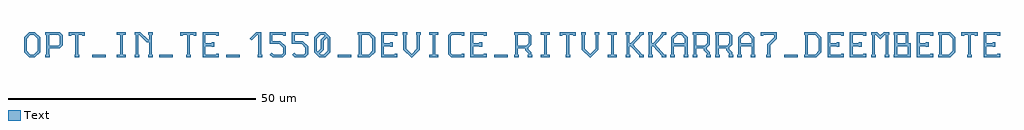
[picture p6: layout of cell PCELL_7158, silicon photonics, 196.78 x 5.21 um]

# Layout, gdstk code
import gdstk
lib = gdstk.Library(unit=1e-6, precision=1e-09)
def R(c, l, rs):  # rectangles x0, y0, x1, y1
    for r in rs: c.add(gdstk.rectangle(r[:2], r[2:], *l))
def A(c, l, x, y, w, h, nx, ny, dx, dy):  # array of equal rectangles
    R(c, l, [(x+i*dx, y+j*dy, x+i*dx+w, y+j*dy+h) for i in range(nx) for j in range(ny)])
def P(c, l, *ps):  # polygons
    for p in ps: c.add(gdstk.Polygon(p, *l))
Text = (10, 0)

pcell_7158 = lib.new_cell('PCELL_7158')
A(pcell_7158, Text, -85, -5.275, 2.727, 0.55, 3, 1, 13.5, 0)
A(pcell_7158, Text, 22.545, -5.275, 0.91, 0.55, 6, 1, 4.5, 0)
A(pcell_7158, Text, 25.273, -5.275, 0.909, 0.55, 6, 1, 4.5, 0)
A(pcell_7158, Text, 69.543, -3.182, 0.55, 0.909, 3, 1, 13.5, 0)
A(pcell_7158, Text, 68, -3.002, 1.818, 0.55, 3, 1, 13.5, 0)
R(pcell_7158, Text, [(-94.455,-5.275,-93.545,-4.725), (-88.591,-5.275,-87.682,-4.725), (-80.045,-5.275,-78.227,-4.725), (-76.455,-5.275,-75.545,-4.725), (-73.727,-5.275,-72.818,-4.725), (-66.091,-5.275,-65.182,-4.725), (-51.682,-5.275,-50.773,-4.725), (-35.5,-5.275,-32.773,-4.725), (-17.045,-5.275,-15.227,-4.725), (-4,-5.275,-1.273,-4.725), (0.045,-5.275,0.955,-4.725), (2.773,-5.275,3.682,-4.725), (5.455,-5.275,7.273,-4.725), (10.409,-5.275,11.318,-4.725), (18.955,-5.275,20.773,-4.725), (50.909,-5.275,51.818,-4.725), (54.5,-5.275,57.227,-4.725), (72.045,-5.275,72.955,-4.725), (74.773,-5.275,75.682,-4.725), (91.409,-5.275,92.318,-4.725), (-94.275,-5,-93.725,-0.455), (-88.411,-5,-87.861,-0.455), (-79.411,-5,-78.861,-0.455), (-76.275,-5,-75.725,-0.455), (-73.548,-5,-72.998,-0.455), (-65.911,-5,-65.361,-0.455), (-31.275,-5,-30.725,-0.455), (-16.411,-5,-15.861,-0.455), (0.225,-5,0.775,-0.455), (6.089,-5,6.639,-0.455), (10.589,-5,11.139,-0.455), (19.589,-5,20.139,-0.455), (22.725,-5,23.275,-0.455), (27.225,-5,27.775,-0.455), (36.225,-5,36.775,-0.455), (40.725,-5,41.275,-0.455), (58.725,-5,59.275,-0.455), (72.225,-5,72.775,-0.455), (74.952,-5,75.502,-0.455), (76.725,-5,77.275,-0.455), (85.725,-5,86.275,-0.455), (91.589,-5,92.139,-0.455), (-60.957,-3.182,-60.407,-2.273), (-24.957,-3.182,-24.407,-2.273), (-6.957,-3.182,-6.407,-2.273), (65.043,-3.182,65.593,-2.273), (-62.5,-3.002,-60.682,-2.452), (-26.5,-3.002,-24.682,-2.452), (-8.5,-3.002,-6.682,-2.452), (32,-3.002,34.727,-2.452), (45.5,-3.002,48.227,-2.452), (63.5,-3.002,65.318,-2.452), (77,-3.002,79.727,-2.452), (-80.045,-0.73,-78.227,-0.18), (-73.727,-0.73,-72.818,-0.18), (-22.455,-0.73,-21.545,-0.18), (-19.727,-0.73,-18.818,-0.18), (-17.045,-0.73,-15.227,-0.18), (5.455,-0.73,7.273,-0.18), (13.545,-0.73,14.455,-0.18), (16.273,-0.73,17.182,-0.18), (18.955,-0.73,20.773,-0.18), (22.545,-0.73,23.455,-0.18), (25.273,-0.73,26.182,-0.18), (27.045,-0.73,27.955,-0.18), (29.773,-0.73,30.682,-0.18)])
P(pcell_7158, Text, [(-98.775,-4.091),(-98.775,-1.25),(-97.705,-0.18),(-96.568,-0.18),(-95.498,-1.25),(-95.498,-3.182),(-96.048,-3.182),(-96.048,-1.478),(-96.796,-0.73),(-97.477,-0.73),(-98.225,-1.478),(-98.225,-4.091)],
  [(-95.498,-2.727),(-95.498,-4.205),(-96.568,-5.275),(-97.705,-5.275),(-98.775,-4.205),(-98.775,-1.364),(-98.225,-1.364),(-98.225,-3.977),(-97.477,-4.725),(-96.796,-4.725),(-96.048,-3.977),(-96.048,-2.727)],
  [(-94.455,-0.18),(-91.613,-0.18),(-90.998,-0.795),(-90.998,-2.841),(-91.613,-3.457),(-94,-3.457),(-94,-2.907),(-91.841,-2.907),(-91.548,-2.613),(-91.548,-1.023),(-91.841,-0.73),(-94.455,-0.73)],
  [(-89.775,-0.909),(-89.775,-0.18),(-86.498,-0.18),(-86.498,-0.909),(-87.048,-0.909),(-87.048,-0.73),(-89.225,-0.73),(-89.225,-0.909)],
  [(-76.455,-0.18),(-75.295,-0.18),(-73.75,-1.725),(-73.273,-1.725),(-73.273,-2.275),(-73.978,-2.275),(-75.523,-0.73),(-76.455,-0.73)],
  [(-67.275,-0.909),(-67.275,-0.18),(-63.998,-0.18),(-63.998,-0.909),(-64.548,-0.909),(-64.548,-0.73),(-66.725,-0.73),(-66.725,-0.909)],
  [(-59.498,-4.545),(-59.498,-5.275),(-62.775,-5.275),(-62.775,-0.18),(-59.498,-0.18),(-59.498,-0.909),(-60.048,-0.909),(-60.048,-0.73),(-62.225,-0.73),(-62.225,-4.725),(-60.048,-4.725),(-60.048,-4.545)],
  [(-53.24,-1.487),(-51.932,-0.18),(-50.952,-0.18),(-50.952,-5),(-51.502,-5),(-51.502,-0.73),(-51.704,-0.73),(-52.851,-1.876)],
  [(-46.548,-0.909),(-46.548,-0.73),(-48.725,-0.73),(-48.725,-1.998),(-47.068,-1.998),(-45.998,-3.068),(-45.998,-4.659),(-46.613,-5.275),(-48.659,-5.275),(-49.194,-4.74),(-48.806,-4.351),(-48.432,-4.725),(-46.841,-4.725),(-46.548,-4.432),(-46.548,-3.296),(-47.296,-2.548),(-49.275,-2.548),(-49.275,-0.18),(-45.998,-0.18),(-45.998,-0.909)],
  [(-42.048,-0.909),(-42.048,-0.73),(-44.225,-0.73),(-44.225,-1.998),(-42.568,-1.998),(-41.498,-3.068),(-41.498,-4.659),(-42.113,-5.275),(-44.159,-5.275),(-44.694,-4.74),(-44.306,-4.351),(-43.932,-4.725),(-42.341,-4.725),(-42.048,-4.432),(-42.048,-3.296),(-42.796,-2.548),(-44.775,-2.548),(-44.775,-0.18),(-41.498,-0.18),(-41.498,-0.909)],
  [(-38.636,-5.275),(-39.205,-5.275),(-40.275,-4.205),(-40.275,-1.25),(-39.205,-0.18),(-38.068,-0.18),(-36.998,-1.25),(-36.998,-3.182),(-37.548,-3.182),(-37.548,-1.478),(-38.296,-0.73),(-38.977,-0.73),(-39.725,-1.478),(-39.725,-3.977),(-38.977,-4.725),(-38.636,-4.725)],
  [(-36.998,-2.727),(-36.998,-4.205),(-38.068,-5.275),(-39.205,-5.275),(-40.275,-4.205),(-40.275,-2.727),(-39.725,-2.727),(-39.725,-3.977),(-38.977,-4.725),(-38.296,-4.725),(-37.548,-3.977),(-37.548,-2.727)],
  [(-39.74,-4.351),(-38.911,-3.522),(-38.911,-1.704),(-37.922,-0.715),(-37.533,-1.104),(-38.361,-1.932),(-38.361,-3.75),(-39.351,-4.74)],
  [(-31.455,-0.18),(-29.068,-0.18),(-27.998,-1.25),(-27.998,-4.205),(-29.068,-5.275),(-31.455,-5.275),(-31.455,-4.725),(-29.296,-4.725),(-28.548,-3.977),(-28.548,-1.478),(-29.296,-0.73),(-31.455,-0.73)],
  [(-23.498,-4.545),(-23.498,-5.275),(-26.775,-5.275),(-26.775,-0.18),(-23.498,-0.18),(-23.498,-0.909),(-24.048,-0.909),(-24.048,-0.73),(-26.225,-0.73),(-26.225,-4.725),(-24.048,-4.725),(-24.048,-4.545)],
  [(-21.725,-0.455),(-21.725,-3.522),(-20.636,-4.611),(-19.548,-3.522),(-19.548,-0.455),(-18.998,-0.455),(-18.998,-3.75),(-20.636,-5.389),(-22.275,-3.75),(-22.275,-0.455)],
  [(-9.998,-4.545),(-9.998,-5.275),(-12.659,-5.275),(-13.275,-4.659),(-13.275,-0.795),(-12.659,-0.18),(-9.998,-0.18),(-9.998,-0.909),(-10.548,-0.909),(-10.548,-0.73),(-12.432,-0.73),(-12.725,-1.023),(-12.725,-4.432),(-12.432,-4.725),(-10.548,-4.725),(-10.548,-4.545)],
  [(-5.498,-4.545),(-5.498,-5.275),(-8.775,-5.275),(-8.775,-0.18),(-5.498,-0.18),(-5.498,-0.909),(-6.048,-0.909),(-6.048,-0.73),(-8.225,-0.73),(-8.225,-4.725),(-6.048,-4.725),(-6.048,-4.545)],
  [(0.045,-0.18),(2.887,-0.18),(3.502,-0.795),(3.502,-2.705),(2.75,-3.457),(0.5,-3.457),(0.5,-2.907),(2.522,-2.907),(2.952,-2.477),(2.952,-1.023),(2.659,-0.73),(0.045,-0.73)],
  [(2.866,-3.182),(2.866,-3.659),(3.502,-4.295),(3.502,-5),(2.952,-5),(2.952,-4.523),(2.316,-3.887),(2.316,-3.182)],
  [(9.225,-0.909),(9.225,-0.18),(12.502,-0.18),(12.502,-0.909),(11.952,-0.909),(11.952,-0.73),(9.775,-0.73),(9.775,-0.909)],
  [(14.275,-0.455),(14.275,-3.522),(15.364,-4.611),(16.452,-3.522),(16.452,-0.455),(17.002,-0.455),(17.002,-3.75),(15.364,-5.389),(13.725,-3.75),(13.725,-0.455)],
  [(23,-2.452),(23.559,-2.452),(25.523,-0.271),(25.932,-0.639),(23.804,-3.002),(23,-3.002)],
  [(23.886,-2.543),(25.932,-4.816),(25.523,-5.184),(23.477,-2.911)],
  [(27.5,-2.452),(28.059,-2.452),(30.023,-0.271),(30.432,-0.639),(28.304,-3.002),(27.5,-3.002)],
  [(28.386,-2.543),(30.432,-4.816),(30.023,-5.184),(27.977,-2.911)],
  [(31.725,-5),(31.725,-1.25),(32.795,-0.18),(33.932,-0.18),(35.002,-1.25),(35.002,-5),(34.452,-5),(34.452,-1.478),(33.704,-0.73),(33.023,-0.73),(32.275,-1.478),(32.275,-5)],
  [(36.045,-0.18),(38.887,-0.18),(39.502,-0.795),(39.502,-2.705),(38.75,-3.457),(36.5,-3.457),(36.5,-2.907),(38.522,-2.907),(38.952,-2.477),(38.952,-1.023),(38.659,-0.73),(36.045,-0.73)],
  [(38.866,-3.182),(38.866,-3.659),(39.502,-4.295),(39.502,-5),(38.952,-5),(38.952,-4.523),(38.316,-3.887),(38.316,-3.182)],
  [(40.545,-0.18),(43.387,-0.18),(44.002,-0.795),(44.002,-2.705),(43.25,-3.457),(41,-3.457),(41,-2.907),(43.022,-2.907),(43.452,-2.477),(43.452,-1.023),(43.159,-0.73),(40.545,-0.73)],
  [(43.366,-3.182),(43.366,-3.659),(44.002,-4.295),(44.002,-5),(43.452,-5),(43.452,-4.523),(42.816,-3.887),(42.816,-3.182)],
  [(45.225,-5),(45.225,-1.25),(46.295,-0.18),(47.432,-0.18),(48.502,-1.25),(48.502,-5),(47.952,-5),(47.952,-1.478),(47.204,-0.73),(46.523,-0.73),(45.775,-1.478),(45.775,-5)],
  [(49.725,-0.909),(49.725,-0.18),(53.002,-0.18),(53.002,-1.478),(51.639,-2.841),(51.639,-5),(51.089,-5),(51.089,-2.613),(52.452,-1.25),(52.452,-0.73),(50.275,-0.73),(50.275,-0.909)],
  [(58.545,-0.18),(60.932,-0.18),(62.002,-1.25),(62.002,-4.205),(60.932,-5.275),(58.545,-5.275),(58.545,-4.725),(60.704,-4.725),(61.452,-3.977),(61.452,-1.478),(60.704,-0.73),(58.545,-0.73)],
  [(66.502,-4.545),(66.502,-5.275),(63.225,-5.275),(63.225,-0.18),(66.502,-0.18),(66.502,-0.909),(65.952,-0.909),(65.952,-0.73),(63.775,-0.73),(63.775,-4.725),(65.952,-4.725),(65.952,-4.545)],
  [(71.002,-4.545),(71.002,-5.275),(67.725,-5.275),(67.725,-0.18),(71.002,-0.18),(71.002,-0.909),(70.452,-0.909),(70.452,-0.73),(68.275,-0.73),(68.275,-4.725),(70.452,-4.725),(70.452,-4.545)],
  [(72.045,-0.18),(73.205,-0.18),(73.864,-0.838),(74.522,-0.18),(75.682,-0.18),(75.682,-0.73),(74.75,-0.73),(73.864,-1.616),(72.977,-0.73),(72.045,-0.73)],
  [(76.545,-0.18),(79.548,-0.18),(79.548,-2.452),(80.002,-2.452),(80.002,-5.275),(76.545,-5.275),(76.545,-4.725),(79.452,-4.725),(79.452,-3.002),(78.998,-3.002),(78.998,-0.73),(76.545,-0.73)],
  [(84.502,-4.545),(84.502,-5.275),(81.225,-5.275),(81.225,-0.18),(84.502,-0.18),(84.502,-0.909),(83.952,-0.909),(83.952,-0.73),(81.775,-0.73),(81.775,-4.725),(83.952,-4.725),(83.952,-4.545)],
  [(85.545,-0.18),(87.932,-0.18),(89.002,-1.25),(89.002,-4.205),(87.932,-5.275),(85.545,-5.275),(85.545,-4.725),(87.704,-4.725),(88.452,-3.977),(88.452,-1.478),(87.704,-0.73),(85.545,-0.73)],
  [(90.225,-0.909),(90.225,-0.18),(93.502,-0.18),(93.502,-0.909),(92.952,-0.909),(92.952,-0.73),(90.775,-0.73),(90.775,-0.909)],
  [(98.002,-4.545),(98.002,-5.275),(94.725,-5.275),(94.725,-0.18),(98.002,-0.18),(98.002,-0.909),(97.452,-0.909),(97.452,-0.73),(95.275,-0.73),(95.275,-4.725),(97.452,-4.725),(97.452,-4.545)])

lib.write_gds('PCELL_7158.gds')
